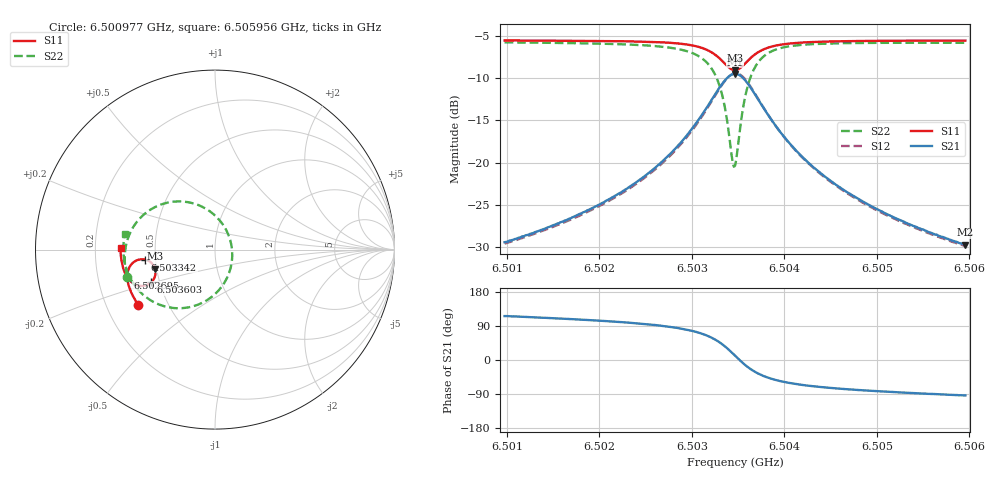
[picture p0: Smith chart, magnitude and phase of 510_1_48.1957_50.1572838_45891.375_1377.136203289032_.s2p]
#  HZ  S  RI  R  50.00
! Rohde & Schwarz Vector Network Analyzer
! Rohde-Schwarz,ZNB20-2Port,1311601062101988,3.16
! Created: UTC 3/20/2024, 11:58:55 AM
! freq[Hz]  re:S11  im:S11  re:S21  im:S21  re:S12  im:S12  re:S22  im:S22
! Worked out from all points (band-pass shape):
!   401 points, 6.500977 GHz to 6.505956 GHz, reference 50 ohm
!   highest |S21| = -9.51 dB at 6.503466 GHz (marker M1); lowest = -29.7 dB at 6.505956 GHz (marker M2)
!   |S21| within 3 dB of the highest: 6.503218 GHz to 6.503716 GHz (497.7 kHz wide, 0.00765 % of centre)
!   lowest |S11| = -9.1 dB at 6.503466 GHz (marker M3), VSWR 2.08, Z = 24.5 - j5.9 ohm
!   |S11| at or under -10 dB: nowhere
!   |S22| runs from -20.5 to -5.8 dB; largest |S21 - S12| = 0.011
!   S11 on the Smith chart (normalised r, x): 6.500977 GHz: 0.34, -0.29; 6.502695 GHz: 0.33, -0.14; 6.503342 GHz: 0.44, -0.06; 6.503603 GHz: 0.45, -0.19; 6.505956 GHz: 0.31, +0.01
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6.5009766e9  -0.4271 -0.3089  -0.0148 0.0305  -0.0132 0.0305  -0.4901 -0.1532
6.5018107e9  -0.463 -0.247  -0.0142 0.0483  -0.0119 0.0479  -0.5031 -0.0639
6.5022464e9  -0.4783 -0.2085  -0.0114 0.0665  -0.00872 0.0654  -0.5002 -0.00236
6.5026448e9  -0.4878 -0.1644  -0.00206 0.0976  0.0014 0.0953  -0.4798 0.0772
6.5026946e9  -0.4885 -0.1578  0.000496 0.1034  0.00394 0.1008  -0.4744 0.0898
6.502956e9  -0.484 -0.1165  0.0267 0.1448  0.0303 0.1404  -0.4197 0.1728
6.5031427e9  -0.4623 -0.078  0.0817 0.1872  0.0838 0.1814  -0.3149 0.246
6.5032548e9  -0.4292 -0.0573  0.1519 0.205  0.1521 0.1991  -0.189 0.2682
6.5033419e9  -0.3882 -0.0558  0.2323 0.1884  0.2324 0.1842  -0.0498 0.2271
6.503429e9  -0.3457 -0.084  0.31 0.1152  0.3124 0.1116  0.0744 0.0831
6.5034539e9  -0.3376 -0.098  0.3234 0.0837  0.3267 0.0794  0.0915 0.0241
6.5034664e9  -0.3347 -0.1057  0.3279 0.0671  0.3315 0.0624  0.0954 -0.00687
6.5034913e9  -0.3317 -0.1218  0.3316 0.0329  0.3355 0.0269  0.0935 -0.0697
6.5035286e9  -0.3337 -0.1455  0.3245 -0.0169  0.3282 -0.0249  0.067 -0.1575
6.5036033e9  -0.3555 -0.1823  0.2788 -0.0928  0.2791 -0.1034  -0.0409 -0.2795
6.5037154e9  -0.4007 -0.2023  0.1927 -0.1381  0.188 -0.1474  -0.2149 -0.3264
6.5038772e9  -0.4476 -0.1927  0.1098 -0.1345  0.1031 -0.1395  -0.3646 -0.2787
6.5040515e9  -0.4753 -0.1714  0.0647 -0.1139  0.0587 -0.1161  -0.4375 -0.2129
6.5043004e9  -0.4962 -0.1415  0.0344 -0.0891  0.0297 -0.0897  -0.4814 -0.1402
6.5046739e9  -0.5119 -0.1023  0.0151 -0.0654  0.0119 -0.0651  -0.504 -0.0648
6.5051345e9  -0.5213 -0.0594  0.00512 -0.0486  0.00289 -0.048  -0.5103 0.000938
6.5059561e9  -0.5265 0.0104  -0.002 -0.0327  -0.00326 -0.0319  -0.5027 0.0884
